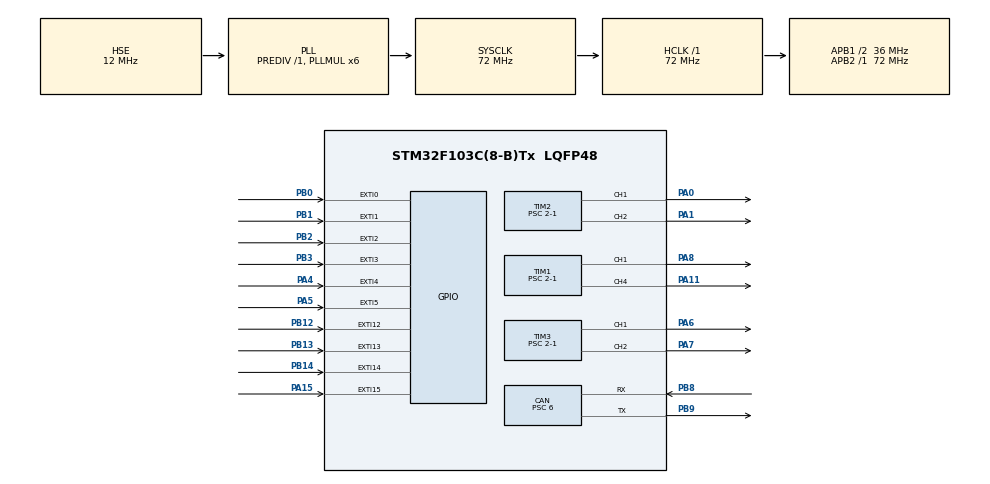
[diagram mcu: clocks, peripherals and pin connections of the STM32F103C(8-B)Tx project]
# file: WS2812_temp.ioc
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CAN.BS1=CAN_BS1_3TQ
CAN.BS2=CAN_BS2_2TQ
CAN.CalculateBaudRate=999999
CAN.CalculateTimeBit=1000
CAN.CalculateTimeQuantum=166.66666666666669
CAN.Prescaler=6
Dma.Request0=TIM2_CH1
Dma.Request1=TIM2_CH2/CH4
Dma.Request2=TIM1_CH1
Dma.Request3=TIM1_CH4/TRIG/COM
Dma.Request4=TIM3_CH1/TRIG
Dma.Request5=TIM3_CH4/UP
Dma.TIM1_CH1.2.Direction=DMA_MEMORY_TO_PERIPH
Dma.TIM1_CH1.2.Instance=DMA1_Channel2
Dma.TIM1_CH1.2.MemDataAlignment=DMA_MDATAALIGN_HALFWORD
Dma.TIM1_CH1.2.MemInc=DMA_MINC_ENABLE
Dma.TIM1_CH1.2.Mode=DMA_NORMAL
Dma.TIM1_CH1.2.PeriphDataAlignment=DMA_PDATAALIGN_HALFWORD
Dma.TIM1_CH1.2.PeriphInc=DMA_PINC_DISABLE
Dma.TIM1_CH1.2.Priority=DMA_PRIORITY_VERY_HIGH
Dma.TIM1_CH4/TRIG/COM.3.Direction=DMA_MEMORY_TO_PERIPH
Dma.TIM1_CH4/TRIG/COM.3.Instance=DMA1_Channel4
Dma.TIM1_CH4/TRIG/COM.3.MemDataAlignment=DMA_MDATAALIGN_HALFWORD
Dma.TIM1_CH4/TRIG/COM.3.MemInc=DMA_MINC_ENABLE
Dma.TIM1_CH4/TRIG/COM.3.Mode=DMA_NORMAL
Dma.TIM1_CH4/TRIG/COM.3.PeriphDataAlignment=DMA_PDATAALIGN_HALFWORD
Dma.TIM1_CH4/TRIG/COM.3.PeriphInc=DMA_PINC_DISABLE
Dma.TIM1_CH4/TRIG/COM.3.Priority=DMA_PRIORITY_VERY_HIGH
Dma.TIM2_CH1.0.Direction=DMA_MEMORY_TO_PERIPH
Dma.TIM2_CH1.0.Instance=DMA1_Channel5
Dma.TIM2_CH1.0.MemDataAlignment=DMA_MDATAALIGN_HALFWORD
Dma.TIM2_CH1.0.MemInc=DMA_MINC_ENABLE
Dma.TIM2_CH1.0.Mode=DMA_NORMAL
Dma.TIM2_CH1.0.PeriphDataAlignment=DMA_PDATAALIGN_HALFWORD
Dma.TIM2_CH1.0.PeriphInc=DMA_PINC_DISABLE
Dma.TIM2_CH1.0.Priority=DMA_PRIORITY_VERY_HIGH
Dma.TIM2_CH2/CH4.1.Direction=DMA_MEMORY_TO_PERIPH
Dma.TIM2_CH2/CH4.1.Instance=DMA1_Channel7
Dma.TIM2_CH2/CH4.1.MemDataAlignment=DMA_MDATAALIGN_HALFWORD
Dma.TIM2_CH2/CH4.1.MemInc=DMA_MINC_ENABLE
Dma.TIM2_CH2/CH4.1.Mode=DMA_NORMAL
Dma.TIM2_CH2/CH4.1.PeriphDataAlignment=DMA_PDATAALIGN_HALFWORD
Dma.TIM2_CH2/CH4.1.PeriphInc=DMA_PINC_DISABLE
Dma.TIM2_CH2/CH4.1.Priority=DMA_PRIORITY_VERY_HIGH
Dma.TIM3_CH1/TRIG.4.Direction=DMA_MEMORY_TO_PERIPH
Dma.TIM3_CH1/TRIG.4.Instance=DMA1_Channel6
Dma.TIM3_CH1/TRIG.4.MemDataAlignment=DMA_MDATAALIGN_HALFWORD
Dma.TIM3_CH1/TRIG.4.MemInc=DMA_MINC_ENABLE
Dma.TIM3_CH1/TRIG.4.Mode=DMA_NORMAL
Dma.TIM3_CH1/TRIG.4.PeriphDataAlignment=DMA_PDATAALIGN_HALFWORD
Dma.TIM3_CH1/TRIG.4.PeriphInc=DMA_PINC_DISABLE
Dma.TIM3_CH1/TRIG.4.Priority=DMA_PRIORITY_VERY_HIGH
Dma.TIM3_CH4/UP.5.Direction=DMA_MEMORY_TO_PERIPH
Dma.TIM3_CH4/UP.5.Instance=DMA1_Channel3
Dma.TIM3_CH4/UP.5.MemDataAlignment=DMA_MDATAALIGN_HALFWORD
Dma.TIM3_CH4/UP.5.MemInc=DMA_MINC_ENABLE
Dma.TIM3_CH4/UP.5.Mode=DMA_NORMAL
Dma.TIM3_CH4/UP.5.PeriphDataAlignment=DMA_PDATAALIGN_HALFWORD
Dma.TIM3_CH4/UP.5.PeriphInc=DMA_PINC_DISABLE
Dma.TIM3_CH4/UP.5.Priority=DMA_PRIORITY_VERY_HIGH
Mcu.Family=STM32F1
Mcu.Name=STM32F103C(8-B)Tx
Mcu.Package=LQFP48
NVIC.CAN1_RX1_IRQn=true\:0\:0\:false\:false\:true\:true\:true\:true
NVIC.DMA1_Channel2_IRQn=true\:0\:0\:false\:false\:true\:false\:true\:true
NVIC.DMA1_Channel3_IRQn=true\:0\:0\:false\:false\:true\:false\:true\:true
NVIC.DMA1_Channel4_IRQn=true\:0\:0\:false\:false\:true\:false\:true\:true
NVIC.DMA1_Channel5_IRQn=true\:0\:0\:false\:false\:true\:false\:true\:true
NVIC.DMA1_Channel6_IRQn=true\:0\:0\:false\:false\:true\:false\:true\:true
NVIC.DMA1_Channel7_IRQn=true\:0\:0\:false\:false\:true\:false\:true\:true
NVIC.EXTI0_IRQn=true\:0\:0\:false\:false\:true\:true\:true\:true
NVIC.EXTI15_10_IRQn=true\:0\:0\:false\:false\:true\:true\:true\:true
NVIC.EXTI1_IRQn=true\:0\:0\:false\:false\:true\:true\:true\:true
NVIC.EXTI2_IRQn=true\:0\:0\:false\:false\:true\:true\:true\:true
NVIC.EXTI3_IRQn=true\:0\:0\:false\:false\:true\:true\:true\:true
NVIC.EXTI4_IRQn=true\:0\:0\:false\:false\:true\:true\:true\:true
NVIC.EXTI9_5_IRQn=true\:0\:0\:false\:false\:true\:true\:true\:true
NVIC.PriorityGroup=NVIC_PRIORITYGROUP_4
PA0-WKUP.Signal=S_TIM2_CH1_ETR
PA1.Signal=S_TIM2_CH2
PA11.Signal=S_TIM1_CH4
PA13.Mode=Serial_Wire
PA13.Signal=SYS_JTMS-SWDIO
PA14.Mode=Serial_Wire
PA14.Signal=SYS_JTCK-SWCLK
PA15.GPIO_ModeDefaultEXTI=GPIO_MODE_IT_FALLING
PA15.GPIO_PuPd=GPIO_PULLUP
PA15.Signal=GPXTI15
PA4.GPIO_ModeDefaultEXTI=GPIO_MODE_IT_FALLING
PA4.GPIO_PuPd=GPIO_PULLUP
PA4.Signal=GPXTI4
PA5.GPIO_ModeDefaultEXTI=GPIO_MODE_IT_FALLING
PA5.GPIO_PuPd=GPIO_PULLUP
PA5.Signal=GPXTI5
PA6.Signal=S_TIM3_CH1
PA7.Signal=S_TIM3_CH2
PA8.Signal=S_TIM1_CH1
PB0.GPIO_ModeDefaultEXTI=GPIO_MODE_IT_FALLING
PB0.GPIO_PuPd=GPIO_PULLUP
PB0.Signal=GPXTI0
PB1.GPIO_ModeDefaultEXTI=GPIO_MODE_IT_FALLING
PB1.GPIO_PuPd=GPIO_PULLUP
PB1.Signal=GPXTI1
PB12.GPIO_ModeDefaultEXTI=GPIO_MODE_IT_FALLING
PB12.GPIO_PuPd=GPIO_PULLUP
PB12.Signal=GPXTI12
PB13.GPIO_ModeDefaultEXTI=GPIO_MODE_IT_FALLING
PB13.GPIO_PuPd=GPIO_PULLUP
PB13.Signal=GPXTI13
PB14.GPIO_ModeDefaultEXTI=GPIO_MODE_IT_FALLING
PB14.GPIO_PuPd=GPIO_PULLUP
PB14.Signal=GPXTI14
PB2.GPIO_ModeDefaultEXTI=GPIO_MODE_IT_FALLING
PB2.GPIO_PuPd=GPIO_PULLUP
PB2.Signal=GPXTI2
PB3.GPIO_ModeDefaultEXTI=GPIO_MODE_IT_FALLING
PB3.GPIO_PuPd=GPIO_PULLUP
PB3.Signal=GPXTI3
PB8.Mode=CAN_Activate
PB8.Signal=CAN_RX
PB9.Mode=CAN_Activate
PB9.Signal=CAN_TX
PD0-OSC_IN.Mode=HSE-External-Oscillator
PD0-OSC_IN.Signal=RCC_OSC_IN
PD1-OSC_OUT.Mode=HSE-External-Oscillator
PD1-OSC_OUT.Signal=RCC_OSC_OUT
ProjectManager.HeapSize=0x200
ProjectManager.StackSize=0x400
ProjectManager.TargetToolchain=CMake
RCC.AHBFreq_Value=72000000
RCC.APB1CLKDivider=RCC_HCLK_DIV2
RCC.APB1Freq_Value=36000000
RCC.APB1TimFreq_Value=72000000
RCC.APB2Freq_Value=72000000
RCC.APB2TimFreq_Value=72000000
RCC.HCLKFreq_Value=72000000
RCC.HSE_VALUE=12000000
RCC.PLLMUL=RCC_PLL_MUL6
RCC.PLLSourceVirtual=RCC_PLLSOURCE_HSE
RCC.SYSCLKFreq_VALUE=72000000
RCC.SYSCLKSource=RCC_SYSCLKSOURCE_PLLCLK
RCC.USBFreq_Value=72000000
SH.S_TIM1_CH1.0=TIM1_CH1,PWM Generation1 CH1
SH.S_TIM1_CH4.0=TIM1_CH4,PWM Generation4 CH4
SH.S_TIM2_CH1_ETR.0=TIM2_CH1,PWM Generation1 CH1
SH.S_TIM2_CH2.0=TIM2_CH2,PWM Generation2 CH2
SH.S_TIM3_CH1.0=TIM3_CH1,PWM Generation1 CH1
SH.S_TIM3_CH2.0=TIM3_CH2,PWM Generation2 CH2
TIM1.Channel-PWM\ Generation1\ CH1=TIM_CHANNEL_1
TIM1.Channel-PWM\ Generation4\ CH4=TIM_CHANNEL_4
TIM1.Period=45-1
TIM1.Prescaler=2-1
TIM2.Channel-PWM\ Generation1\ CH1=TIM_CHANNEL_1
TIM2.Channel-PWM\ Generation2\ CH2=TIM_CHANNEL_2
TIM2.Period=45-1
TIM2.Prescaler=2-1
TIM3.Channel-PWM\ Generation1\ CH1=TIM_CHANNEL_1
TIM3.Channel-PWM\ Generation2\ CH2=TIM_CHANNEL_2
TIM3.Period=45-1
TIM3.Prescaler=2-1
board=custom

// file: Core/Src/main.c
/* USER CODE BEGIN Header */
/**
  ******************************************************************************
  * @file           : main.c
  * @brief          : Main program body
  ******************************************************************************
  * @attention
  *
  * Copyright (c) 2024 STMicroelectronics.
  * All rights reserved.
  *
  * This software is licensed under terms that can be found in the LICENSE file
  * in the root directory of this software component.
  * If no LICENSE file comes with this software, it is provided AS-IS.
  *
  ******************************************************************************.
  */
/* USER CODE END Header */
#include "main.h"
#include "can.h"
#include "dma.h"
#include "tim.h"
#include "gpio.h"

/* USER CODE BEGIN Includes */
#include "WS2812.h"
#include "can_portocal_second.hpp"
#include "Flag_State.h"
#include "bsp_can.hpp"
#include "bsp.hpp"
#include <stdbool.h>
/* USER CODE END Includes */

/* USER CODE BEGIN PTD */
#define WS1 33
#define WS0 12
#define BOARD_NUMBER 1
#define SWITCH_PIN_0 GPIO_PIN_0
#define SWITCH_PIN_1 GPIO_PIN_1
#define SWITCH_PIN_2 GPIO_PIN_2
#define SWITCH_PIN_3 GPIO_PIN_3
#define SWITCH_PIN_4 GPIO_PIN_4
#define SWITCH_PIN_5 GPIO_PIN_5
#define SWITCH_PIN_12 GPIO_PIN_12
#define SWITCH_PIN_13 GPIO_PIN_13
#define SWITCH_PIN_14 GPIO_PIN_14
#define SWITCH_PIN_15 GPIO_PIN_15
/* USER CODE END PTD */

/* USER CODE BEGIN PD */
int record=0;
int used_time=0;
char one_ring=1;
char two_ring=1;
char three_ring=1;
char four_ring=1;
char five_ring=1;
char six_ring=1;
char seven_ring=1;
char eight_ring=1;
char nine_ring=1;
char ten_ring=1;
Board_info_t Board_info[5];
Board_Order_info_t Board_Order_info[5];
Big_Fu_info_t Big_Fu_info[5];
uint8_t can_rx_Data[8]={0};
uint8_t can_Dafu_data[8]={0};
static int useTime=0;
int hasExecuted=0;
typedef enum {
    STABLE_HIGH,
    JITTER_HIGH,
    STABLE_LOW,
    JITTER_LOW
} Switch_State;
Switch_State current_state_pin_0 = STABLE_HIGH;
Switch_State current_state_pin_1 = STABLE_HIGH;
Switch_State current_state_pin_2 = STABLE_HIGH;
Switch_State current_state_pin_3 = STABLE_HIGH;
Switch_State current_state_pin_4 = STABLE_HIGH;
Switch_State current_state_pin_5 = STABLE_HIGH;
Switch_State current_state_pin_12 = STABLE_HIGH;
Switch_State current_state_pin_13 = STABLE_HIGH;
Switch_State current_state_pin_14 = STABLE_HIGH;
Switch_State current_state_pin_15 = STABLE_HIGH;
/* USER CODE END PD */

void SystemClock_Config(void);
/* USER CODE BEGIN PFP */
void HAL_GPIO_EXTI_Callback(uint16_t GPIO_Pin)
{
    bool current_switch_level;
    switch (GPIO_Pin) {
    case SWITCH_PIN_0:
        current_switch_level = HAL_GPIO_ReadPin(GPIOB, SWITCH_PIN_0);
        switch (current_state_pin_0) {
        case STABLE_HIGH:
            if (!current_switch_level) {
                current_state_pin_0 = JITTER_LOW;
            }
            break;
        case JITTER_HIGH:
            if (!current_switch_level) {
                current_state_pin_0 = JITTER_LOW;
            } else {
                current_state_pin_0 = STABLE_HIGH;
            }
            break;
        case STABLE_LOW:
            if (current_switch_level) {
                current_state_pin_0 = JITTER_HIGH;
            }
            break;
        case JITTER_LOW:
            if (current_switch_level) {
                current_state_pin_0 = JITTER_HIGH;
            } else {
                current_state_pin_0 = STABLE_LOW;
                // ??????????????,?????????
                record = 1;
                Big_Fu_info[BOARD_NUMBER].hit_time += 1;
                Big_Fu_info[BOARD_NUMBER].Single_Hit_State = 1;
                eight_ring = 0;
							Board_Info_Tx(can_Dafu_data,Big_Fu_info);
                __HAL_GPIO_EXTI_CLEAR_IT(SWITCH_PIN_0);
            }
            break;
        }
        break;
    case SWITCH_PIN_1:
        current_switch_level = HAL_GPIO_ReadPin(GPIOB, SWITCH_PIN_1);
        switch (current_state_pin_1) {
        case STABLE_HIGH:
            if (!current_switch_level) {
                current_state_pin_1 = JITTER_LOW;
            }
            break;
        case JITTER_HIGH:
            if (!current_switch_level) {
                current_state_pin_1 = JITTER_LOW;
            } else {
                current_state_pin_1 = STABLE_HIGH;
            }
            break;
        case STABLE_LOW:
            if (current_switch_level) {
                current_state_pin_1 = JITTER_HIGH;
            }

            break;
        case JITTER_LOW:
            if (current_switch_level) {
                current_state_pin_1 = JITTER_HIGH;
            } else {
                current_state_pin_1 = STABLE_LOW;
                // ?????????
                seven_ring = 0;
                record = 1;
                Big_Fu_info[BOARD_NUMBER].hit_time += 1;
                Big_Fu_info[BOARD_NUMBER].Single_Hit_State = 1;
							Board_Info_Tx(can_Dafu_data,Big_Fu_info);
                __HAL_GPIO_EXTI_CLEAR_IT(SWITCH_PIN_1);
            }
            break;
        }
        break;
    case SWITCH_PIN_2:
        current_switch_level = HAL_GPIO_ReadPin(GPIOB, SWITCH_PIN_2);
        switch (current_state_pin_2) {
        case STABLE_HIGH:
            if (!current_switch_level) {
                current_state_pin_2 = JITTER_LOW;
            }
            break;
        case JITTER_HIGH:
            if (!current_switch_level) {
                current_state_pin_2 = JITTER_LOW;
            } else {
                current_state_pin_2 = STABLE_HIGH;
            }
            break;
        case STABLE_LOW:
            if (current_switch_level) {
                current_state_pin_2 = JITTER_HIGH;
            }
            break;
        case JITTER_LOW:
            if (current_switch_level) {
                current_state_pin_2 = JITTER_HIGH;
            } else {
                current_state_pin_2 = STABLE_LOW;
                // ?????????
                six_ring = 0;
                record = 1;
                Big_Fu_info[BOARD_NUMBER].hit_time += 1;
                Big_Fu_info[BOARD_NUMBER].Single_Hit_State = 1;
							Board_Info_Tx(can_Dafu_data,Big_Fu_info);
                __HAL_GPIO_EXTI_CLEAR_IT(SWITCH_PIN_2);
            }
            break;
        }
        break;
    case SWITCH_PIN_3:
        current_switch_level = HAL_GPIO_ReadPin(GPIOB, SWITCH_PIN_3);
        switch (current_state_pin_3) {
        case STABLE_HIGH:
            if (!current_switch_level) {
                current_state_pin_3 = JITTER_LOW;
            }
            break;
        case JITTER_HIGH:
            if (!current_switch_level) {
                current_state_pin_3 = JITTER_LOW;
            } else {
                current_state_pin_3 = STABLE_HIGH;
            }
            break;
        case STABLE_LOW:
            if (current_switch_level) {
                current_state_pin_3 = JITTER_HIGH;
            }
            break;
        case JITTER_LOW:
            if (current_switch_level) {
                current_state_pin_3 = JITTER_HIGH;
            } else {
                current_state_pin_3 = STABLE_LOW;
                // ?????????
                one_ring = 0;
                record = 1;
                Big_Fu_info[BOARD_NUMBER].hit_time += 1;
                Big_Fu_info[BOARD_NUMBER].Single_Hit_State = 1;
							Board_Info_Tx(can_Dafu_data,Big_Fu_info);
							__HAL_GPIO_EXTI_CLEAR_IT(SWITCH_PIN_3);
            }
            break;
        }
        break;
    case SWITCH_PIN_4:
        current_switch_level = HAL_GPIO_ReadPin(GPIOA, SWITCH_PIN_4);
        switch (current_state_pin_4) {
        case STABLE_HIGH:
            if (!current_switch_level) {
                current_state_pin_4 = JITTER_LOW;
            }
            break;
        case JITTER_HIGH:
            if (!current_switch_level) {
                current_state_pin_4 = JITTER_LOW;
            } else {
                current_state_pin_4 = STABLE_HIGH;
            }
            break;
        case STABLE_LOW:
            if (current_switch_level) {
                current_state_pin_4 = JITTER_HIGH;
            }
            break;
        case JITTER_LOW:
            if (current_switch_level) {
                current_state_pin_4 = JITTER_HIGH;
            } else {
                current_state_pin_4 = STABLE_LOW;
                // ?????????
                ten_ring = 0;
                record = 1;
                Big_Fu_info[BOARD_NUMBER].hit_time += 1;
                Big_Fu_info[BOARD_NUMBER].Single_Hit_State = 1;
							Board_Info_Tx(can_Dafu_data,Big_Fu_info);
                __HAL_GPIO_EXTI_CLEAR_IT(SWITCH_PIN_4);
            }
            break;
        }
        break;
    case SWITCH_PIN_5:
        current_switch_level = HAL_GPIO_ReadPin(GPIOA, SWITCH_PIN_5);
        switch (current_state_pin_5) {
        case STABLE_HIGH:
            if (!current_switch_level) {
                current_state_pin_5 = JITTER_LOW;
            }
            break;
        case JITTER_HIGH:
            if (!current_switch_level) {
                current_state_pin_5 = JITTER_LOW;
            } else {
                current_state_pin_5 = STABLE_HIGH;
            }
            break;
        case STABLE_LOW:
            if (current_switch_level) {
                current_state_pin_5 = JITTER_HIGH;
            }
            break;
        case JITTER_LOW:
            if (current_switch_level) {
                current_state_pin_5 = JITTER_HIGH;
            } else {
                current_state_pin_5 = STABLE_LOW;
                // ?????????
                nine_ring = 0;
                record = 1;
                Big_Fu_info[BOARD_NUMBER].hit_time += 1;
                Big_Fu_info[BOARD_NUMBER].Single_Hit_State = 1;
							Board_Info_Tx(can_Dafu_data,Big_Fu_info);
                __HAL_GPIO_EXTI_CLEAR_IT(SWITCH_PIN_5);
            }
            break;
        }
        break;
    case SWITCH_PIN_12:
        current_switch_level = HAL_GPIO_ReadPin(GPIOB, SWITCH_PIN_12);
        switch (current_state_pin_12) {
        case STABLE_HIGH:
            if (!current_switch_level) {
                current_state_pin_12 = JITTER_LOW;
            }
            break;
        case JITTER_HIGH:
            if (!current_switch_level) {
                current_state_pin_12 = JITTER_LOW;
            } else {
                current_state_pin_12 = STABLE_LOW;
            }
            break;
        case STABLE_LOW:
            if (current_switch_level) {
                current_state_pin_12 = JITTER_HIGH;
            }
            break;
        case JITTER_LOW:
            if (current_switch_level) {
                current_state_pin_12 = JITTER_HIGH;
            } else {
                current_state_pin_12 = STABLE_LOW;
                // ?????????
                five_ring = 0;
                record = 1;
                Big_Fu_info[BOARD_NUMBER].hit_time += 1;
                Big_Fu_info[BOARD_NUMBER].Single_Hit_State = 1;
							Board_Info_Tx(can_Dafu_data,Big_Fu_info);
                __HAL_GPIO_EXTI_CLEAR_IT(SWITCH_PIN_12);
            }
            break;
        }
        break;
    case SWITCH_PIN_13:
        current_switch_level = HAL_GPIO_ReadPin(GPIOB, SWITCH_PIN_13);
        switch (current_state_pin_13) {
        case STABLE_HIGH:
            if (!current_switch_level) {
                current_state_pin_13 = JITTER_LOW;
            }
            break;
        case JITTER_HIGH:
            if (!current_switch_level) {
                current_state_pin_13 = JITTER_LOW;
            } else {
                current_state_pin_13 = STABLE_HIGH;
            }
            break;
        case STABLE_LOW:
            if (current_switch_level) {
                current_state_pin_13 = JITTER_HIGH;
            }
            break;
        case JITTER_LOW:
            if (current_switch_level) {
                current_state_pin_13 = JITTER_HIGH;
            } else {
                current_state_pin_13 = STABLE_LOW;
                four_ring = 0;
                record = 1;
                Big_Fu_info[BOARD_NUMBER].hit_time += 1;
                Big_Fu_info[BOARD_NUMBER].Single_Hit_State = 1;
							Board_Info_Tx(can_Dafu_data,Big_Fu_info);
                __HAL_GPIO_EXTI_CLEAR_IT(SWITCH_PIN_13);
            }
            break;
        }
        break;
    case SWITCH_PIN_14:
        current_switch_level = HAL_GPIO_ReadPin(GPIOB, SWITCH_PIN_14);
        switch (current_state_pin_14) {
        case STABLE_HIGH:
            if (!current_switch_level) {
                current_state_pin_14 = JITTER_LOW;
            }
            break;
        case JITTER_HIGH:
            if (!current_switch_level) {
                current_state_pin_14 = JITTER_LOW;
            } else {
                current_state_pin_14 = STABLE_HIGH;
            }
            break;
        case STABLE_LOW:
            if (current_switch_level) {
                current_state_pin_14 = JITTER_HIGH;
            }
            break;
        case JITTER_LOW:
            if (current_switch_level) {
                current_state_pin_14 = JITTER_HIGH;
            } else {
                current_state_pin_14 = STABLE_LOW;
                // ?????????
                three_ring = 0;
                record = 1;
                Big_Fu_info[BOARD_NUMBER].hit_time += 1;
                Big_Fu_info[BOARD_NUMBER].Single_Hit_State = 1;
							Board_Info_Tx(can_Dafu_data,Big_Fu_info);
                __HAL_GPIO_EXTI_CLEAR_IT(SWITCH_PIN_14);
            }
            break;
        }
        break;
    case SWITCH_PIN_15:
        current_switch_level = HAL_GPIO_ReadPin(GPIOA, SWITCH_PIN_15);
        switch (current_state_pin_15) {
        case STABLE_HIGH:
            if (!current_switch_level) {
                current_state_pin_15 = JITTER_LOW;
            }
            break;
        case JITTER_HIGH:
            if (!current_switch_level) {
                current_state_pin_15 = JITTER_LOW;
            } else {
                current_state_pin_15 = STABLE_HIGH;
            }
            break;
        case STABLE_LOW:
            if (current_switch_level) {
                current_state_pin_15 = JITTER_HIGH;
            }
            break;
        case JITTER_LOW:
            if (current_switch_level) {
                current_state_pin_15 = JITTER_HIGH;
            } else {
                current_state_pin_15 = STABLE_LOW;
                // ?????????
                two_ring = 0;
                record = 1;
                Big_Fu_info[BOARD_NUMBER].hit_time += 1;
                Big_Fu_info[BOARD_NUMBER].Single_Hit_State = 1;
							Board_Info_Tx(can_Dafu_data,Big_Fu_info);
                __HAL_GPIO_EXTI_CLEAR_IT(SWITCH_PIN_15);
            }
            break;
        }
        break;
    }
}

/* USER CODE END PFP */

int main(void)
{

  /* MCU Configuration--------------------------------------------------------*/

  /* Reset of all peripherals, Initializes the Flash interface and the Systick. */
  HAL_Init();

  /* Configure the system clock */
  SystemClock_Config();

  /* Initialize all configured peripherals */
  MX_GPIO_Init();
  MX_DMA_Init();
  MX_TIM2_Init();
  MX_TIM1_Init();
  MX_TIM3_Init();
  MX_CAN_Init();
  /* USER CODE BEGIN 2 */
	CAN_Init();
	Big_Fu_info_Init(Big_Fu_info);
	Board_Order_info_Init(Board_Order_info);
	WS2812_close_all();
	HAL_Delay(10);
  /* USER CODE END 2 */

  /* Infinite loop */
  /* USER CODE BEGIN WHILE */
  while (1)
  {

//    Board_RX(CAN_BOARD_ID_1_F,Board_Order_info,can_rx_Data,Board_info[BOARD_NUMBER]);
	  Board_RX(CAN_BOARD_ID_2_F,Board_Order_info,can_rx_Data,Board_info[BOARD_NUMBER]);
//		Board_RX(CAN_BOARD_ID_3_F,Board_Order_info,can_rx_Data,Board_info[BOARD_NUMBER]);
//		Board_RX(CAN_BOARD_ID_4_F,Board_Order_info,can_rx_Data,Board_info[BOARD_NUMBER]);
//		Board_RX(CAN_BOARD_ID_5_F,Board_Order_info,can_rx_Data,Board_info[BOARD_NUMBER]);
		// Board_Order_info[BOARD_NUMBER].Board_Work=1;
		// Board_Order_info[BOARD_NUMBER].Energy_machine_state=1;//测试代码
		if(Board_Order_info[BOARD_NUMBER].Board_Work==0)
		{
			used_time=0;
			record=0;
			Big_Fu_info_Init(Big_Fu_info);
			WS2812_close_all();
			HAL_Delay(10);
			WS_Write_RGB_Frame_up(0,0,0);
			HAL_Delay(10);
			WS_Write_RGB_Frame_down(0,0,0);
      HAL_Delay(10);
			WS2812_close_Rectangle();
			HAL_Delay(10);
			one_ring=1;
			two_ring=1;
			three_ring=1;
			four_ring=1;
			five_ring=1;
			six_ring=1;
			seven_ring=1;
			eight_ring=1;
			nine_ring=1;
			ten_ring=1;
			hasExecuted=0;
			useTime=0;
			current_state_pin_0 = STABLE_HIGH;
      current_state_pin_1 = STABLE_HIGH;
      current_state_pin_2 = STABLE_HIGH;
      current_state_pin_3 = STABLE_HIGH;
      current_state_pin_4 = STABLE_HIGH;
      current_state_pin_5 = STABLE_HIGH;
      current_state_pin_12 = STABLE_HIGH;
      current_state_pin_13 = STABLE_HIGH;
      current_state_pin_14 = STABLE_HIGH;
      current_state_pin_15 = STABLE_HIGH;
		}
		if(Board_Order_info[BOARD_NUMBER].Board_Work==1&&record==0)
		{
			if(used_time==0){
			used_time=1;
			WS_Write_Cross(100,0,0);
			HAL_Delay(10);
			}
			WS_Write_arrow_flow_LED(100,0,0);
		}
		if(Board_Order_info[BOARD_NUMBER].Board_Work==1&&record==1)
		{
			if(hasExecuted==0){
			hasExecuted=1;
			WS_Write_RGB_Frame_up(50,0,0);
			HAL_Delay(10);
			WS_Write_RGB_Frame_down(50,0,0);
			HAL_Delay(10);

			}
		}
    if(one_ring==0)
		{
			if(Big_Fu_info[BOARD_NUMBER].hit_time<=1)
			{
			if(Board_Order_info[BOARD_NUMBER].Energy_machine_state==0)
			{
				 useTime=0;
				   record=0;
					 Big_Fu_info_Init(Big_Fu_info);
					 WS2812_close_all();
			 }
			 if(Board_Order_info[BOARD_NUMBER].Energy_machine_state==1)
			 {
				 if(Board_Order_info[BOARD_NUMBER].Board_Work==0)
				 {
					 useTime=0;
					 record=0;
					 Big_Fu_info_Init(Big_Fu_info);
					 WS2812_close_all();
				 }
			if(Big_Fu_info[BOARD_NUMBER].Hit_LED_state==0&&Big_Fu_info[BOARD_NUMBER].Single_Hit_State==1&&Board_Order_info[BOARD_NUMBER].Board_Work==1)
			{
				useTime++;
				if(useTime==1)
				{
				WS_Write_RGB_ONE_RINGS(100,0,0);
				HAL_Delay(10);
				}
			}
			 }
			 if(Board_Order_info[BOARD_NUMBER].Energy_machine_state==2)
			 {
				 if(Board_Order_info[BOARD_NUMBER].Board_Work==0)
				 {
					 useTime=0;
					 record=0;
					 Big_Fu_info_Init(Big_Fu_info);
				 WS2812_close_all();}
				 if(Board_Order_info[BOARD_NUMBER].Board_Work==1)
				 {
					 useTime++;
					 if(useTime==1)
					 {
					 WS_Write_RGB_ONE_RINGS(100,0,0);
					 HAL_Delay(10);
						 Board_Info_Tx(can_Dafu_data,Big_Fu_info);
					 }
				 }
			 }
		 }
		}
    if(two_ring==0)
		{
			if(Big_Fu_info[BOARD_NUMBER].hit_time<=1)
			{
			if(Board_Order_info[BOARD_NUMBER].Energy_machine_state==0)
			 {
				   useTime=0;
				   record=0;
					 Big_Fu_info_Init(Big_Fu_info);
					 WS2812_close_all();
			 }
			 if(Board_Order_info[BOARD_NUMBER].Energy_machine_state==1)
			 {
				 if(Board_Order_info[BOARD_NUMBER].Board_Work==0)
				 {
					 useTime=0;
					 record=0;
					 Big_Fu_info_Init(Big_Fu_info);
					 WS2812_close_all();
				 }
			if(Big_Fu_info[BOARD_NUMBER].Hit_LED_state==0&&Big_Fu_info[BOARD_NUMBER].Single_Hit_State==1&&Board_Order_info[BOARD_NUMBER].Board_Work==1)
			{
				useTime++;
				if(useTime==1)
				{
				WS_Write_RGB_ONE_RINGS(100,0,0);
				HAL_Delay(10);
				}
			}
			 }
			 if(Board_Order_info[BOARD_NUMBER].Energy_machine_state==2)
			 {
				 if(Board_Order_info[BOARD_NUMBER].Board_Work==0)
				 {
					 useTime=0;
					 record=0;
					 Big_Fu_info_Init(Big_Fu_info);
				 WS2812_close_all();}
				 if(Board_Order_info[BOARD_NUMBER].Board_Work==1)
				 {
					 useTime++;
					 if(useTime==1)
					 {
					 WS_Write_RGB_TWO_RINGS(100,0,0);
					 HAL_Delay(10);
//			     WS_Write_Rectangle_down(50,0,0);
//			     HAL_Delay(10);
//			     WS_Write_Rectangle_mid(50,0,0);
//			     HAL_Delay(10);
//			     WS_Write_Rectangle_up(50,0,0);
//			     HAL_Delay(10);
					 }
				 }
			 }
		 }
		}
    if(three_ring==0)
		{
			if(Big_Fu_info[BOARD_NUMBER].hit_time<=1)
			{
			if(Board_Order_info[BOARD_NUMBER].Energy_machine_state==0)
			 {
				 useTime=0;
				   record=0;
					 Big_Fu_info_Init(Big_Fu_info);
					 WS2812_close_all();
			 }
			 if(Board_Order_info[BOARD_NUMBER].Energy_machine_state==1)
			 {
				 if(Board_Order_info[BOARD_NUMBER].Board_Work==0)
				 {
					 useTime=0;
					 record=0;
					 Big_Fu_info_Init(Big_Fu_info);
					 WS2812_close_all();
				 }
			if(Big_Fu_info[BOARD_NUMBER].Hit_LED_state==0&&Big_Fu_info[BOARD_NUMBER].Single_Hit_State==1&&Board_Order_info[BOARD_NUMBER].Board_Work==1)
			{
				useTime++;
				if(useTime==1)
				{
				WS_Write_RGB_ONE_RINGS(100,0,0);
				HAL_Delay(10);
				}
			}
			 }
			 if(Board_Order_info[BOARD_NUMBER].Energy_machine_state==2)
			 {
				 if(Board_Order_info[BOARD_NUMBER].Board_Work==0)
				 {
					 useTime=0;
					 record=0;
					 Big_Fu_info_Init(Big_Fu_info);
				 WS2812_close_all();}
				 if(Board_Order_info[BOARD_NUMBER].Board_Work==1)
				 {
					 useTime++;
					 if(useTime==1){
					 WS_Write_RGB_THREE_RINGS(100,0,0);
					 HAL_Delay(10);
//			     WS_Write_Rectangle_down(50,0,0);
//			     HAL_Delay(10);
//			     WS_Write_Rectangle_mid(50,0,0);
//			     HAL_Delay(10);
//			     WS_Write_Rectangle_up(50,0,0);
//			     HAL_Delay(10);
					 }
				 }
			 }
		 }
		}
    if(four_ring==0)
		{
			if(Big_Fu_info[BOARD_NUMBER].hit_time<=1)
			{
			if(Board_Order_info[BOARD_NUMBER].Energy_machine_state==0)
			 {
				 useTime=0;
				   record=0;
					 Big_Fu_info_Init(Big_Fu_info);
					 WS2812_close_all();
			 }
			 if(Board_Order_info[BOARD_NUMBER].Energy_machine_state==1)
			 {
				 if(Board_Order_info[BOARD_NUMBER].Board_Work==0)
				 {
					 useTime=0;
					 record=0;
					 Big_Fu_info_Init(Big_Fu_info);
					 WS2812_close_all();
				 }
			if(Big_Fu_info[BOARD_NUMBER].Hit_LED_state==0&&Big_Fu_info[BOARD_NUMBER].Single_Hit_State==1&&Board_Order_info[BOARD_NUMBER].Board_Work==1)
			{
				useTime++;
				if(useTime==1)
				{
				WS_Write_RGB_ONE_RINGS(100,0,0);
				HAL_Delay(10);
				}
			}
			 }
			 if(Board_Order_info[BOARD_NUMBER].Energy_machine_state==2)
			 {
				 if(Board_Order_info[BOARD_NUMBER].Board_Work==0)
				 {
					 useTime=0;
					 record=0;
					 Big_Fu_info_Init(Big_Fu_info);
				 WS2812_close_all();}
				 if(Board_Order_info[BOARD_NUMBER].Board_Work==1)
				 {
					 useTime++;
					 if(useTime==1){
					 WS_Write_RGB_FOUR_RINGS(100,0,0);
					 HAL_Delay(10);
//			     WS_Write_Rectangle_down(50,0,0);
//			     HAL_Delay(10);
//			     WS_Write_Rectangle_mid(50,0,0);
//			     HAL_Delay(10);
//			     WS_Write_Rectangle_up(50,0,0);
//			     HAL_Delay(10);
					 }
				 }
			 }
		 }
		}
    if(five_ring==0)
		{
			if(Big_Fu_info[BOARD_NUMBER].hit_time<=1)
			{
			if(Board_Order_info[BOARD_NUMBER].Energy_machine_state==0)
			 {
				 useTime=0;
				   record=0;
					 Big_Fu_info_Init(Big_Fu_info);
					 WS2812_close_all();
			 }
			 if(Board_Order_info[BOARD_NUMBER].Energy_machine_state==1)
			 {
				 if(Board_Order_info[BOARD_NUMBER].Board_Work==0)
				 {
					 useTime=0;
					 record=0;
					 Big_Fu_info_Init(Big_Fu_info);
					 WS2812_close_all();
				 }
			if(Big_Fu_info[BOARD_NUMBER].Hit_LED_state==0&&Big_Fu_info[BOARD_NUMBER].Single_Hit_State==1&&Board_Order_info[BOARD_NUMBER].Board_Work==1)
			{
				useTime++;
				if(useTime==1)
				{
				WS_Write_RGB_ONE_RINGS(100,0,0);
				HAL_Delay(10);
				}
			}
			 }
			 if(Board_Order_info[BOARD_NUMBER].Energy_machine_state==2)
			 {
				 if(Board_Order_info[BOARD_NUMBER].Board_Work==0)
				 {
					 useTime=0;
					 record=0;
					 Big_Fu_info_Init(Big_Fu_info);
				 WS2812_close_all();}
				 if(Board_Order_info[BOARD_NUMBER].Board_Work==1)
				 {
					 useTime++;
					 if(useTime==1){
					 WS_Write_RGB_FIVE_RINGS(100,0,0);
					 HAL_Delay(10);
//			     WS_Write_Rectangle_down(50,0,0);
//			     HAL_Delay(10);
//			     WS_Write_Rectangle_mid(50,0,0);
//			     HAL_Delay(10);
//			     WS_Write_Rectangle_up(50,0,0);
//			     HAL_Delay(10);
					 }
				 }
			 }
		 }
		}
    if(six_ring==0)
		{
			if(Big_Fu_info[BOARD_NUMBER].hit_time<=1)
			{
			if(Board_Order_info[BOARD_NUMBER].Energy_machine_state==0)
			 {
				 useTime=0;
				   record=0;
					 Big_Fu_info_Init(Big_Fu_info);
					 WS2812_close_all();
			 }
			 if(Board_Order_info[BOARD_NUMBER].Energy_machine_state==1)
			 {
				 if(Board_Order_info[BOARD_NUMBER].Board_Work==0)
				 {
					 useTime=0;
					 record=0;
					 Big_Fu_info_Init(Big_Fu_info);
					 WS2812_close_all();
				 }
			if(Big_Fu_info[BOARD_NUMBER].Hit_LED_state==0&&Big_Fu_info[BOARD_NUMBER].Single_Hit_State==1&&Board_Order_info[BOARD_NUMBER].Board_Work==1)
			{
				useTime++;
				if(useTime==1)
				{
				WS_Write_RGB_ONE_RINGS(100,0,0);
				HAL_Delay(10);
				}
			}
			 }
			 if(Board_Order_info[BOARD_NUMBER].Energy_machine_state==2)
			 {
				 if(Board_Order_info[BOARD_NUMBER].Board_Work==0)
				 {
					 useTime=0;
					 record=0;
					 Big_Fu_info_Init(Big_Fu_info);
				 WS2812_close_all();}
				 if(Board_Order_info[BOARD_NUMBER].Board_Work==1)
				 {
					 useTime++;
					 if(useTime==1){
					 WS_Write_RGB_SIX_RINGS(100,0,0);
					 HAL_Delay(10);
//			     WS_Write_Rectangle_down(50,0,0);
//			     HAL_Delay(10);
//			     WS_Write_Rectangle_mid(50,0,0);
//			     HAL_Delay(10);
//			     WS_Write_Rectangle_up(50,0,0);
//			     HAL_Delay(10);
					 }
				 }
			 }
		 }
		}
    if(seven_ring==0)
		{
			if(Big_Fu_info[BOARD_NUMBER].hit_time<=1)
			{
			if(Board_Order_info[BOARD_NUMBER].Energy_machine_state==0)
			 {
				 useTime=0;
				   record=0;
					 Big_Fu_info_Init(Big_Fu_info);
					 WS2812_close_all();
			 }
			 if(Board_Order_info[BOARD_NUMBER].Energy_machine_state==1)
			 {
				 if(Board_Order_info[BOARD_NUMBER].Board_Work==0)
				 {
					 useTime=0;
					 record=0;
					 Big_Fu_info_Init(Big_Fu_info);
					 WS2812_close_all();
				 }
			if(Big_Fu_info[BOARD_NUMBER].Hit_LED_state==0&&Big_Fu_info[BOARD_NUMBER].Single_Hit_State==1&&Board_Order_info[BOARD_NUMBER].Board_Work==1)
			{
				useTime++;
				if(useTime==1)
				{
				WS_Write_RGB_ONE_RINGS(100,0,0);
				HAL_Delay(10);
				}
			}
			 }
			 if(Board_Order_info[BOARD_NUMBER].Energy_machine_state==2)
			 {
				 if(Board_Order_info[BOARD_NUMBER].Board_Work==0)
				 {
					 useTime=0;
					 record=0;
					 Big_Fu_info_Init(Big_Fu_info);
				 WS2812_close_all();}
				 if(Board_Order_info[BOARD_NUMBER].Board_Work==1)
				 {
					 useTime++;
					 if(useTime==1){
					 WS_Write_RGB_SEVEN_RINGS(100,0,0);
					 HAL_Delay(10);
//			     WS_Write_Rectangle_down(50,0,0);
//			     HAL_Delay(10);
//			     WS_Write_Rectangle_mid(50,0,0);
//			     HAL_Delay(10);
//			     WS_Write_Rectangle_up(50,0,0);
//			     HAL_Delay(10);
					 }
				 }
			 }
		 }
		}
    if(eight_ring==0)
		{
			if(Big_Fu_info[BOARD_NUMBER].hit_time<=1)
			{
			if(Board_Order_info[BOARD_NUMBER].Energy_machine_state==0)
			 {
				 useTime=0;
				   record=0;
					 Big_Fu_info_Init(Big_Fu_info);
					 WS2812_close_all();
			 }
			 if(Board_Order_info[BOARD_NUMBER].Energy_machine_state==1)
			 {
				 if(Board_Order_info[BOARD_NUMBER].Board_Work==0)
				 {
					 useTime=0;
					 record=0;
					 Big_Fu_info_Init(Big_Fu_info);
					 WS2812_close_all();
				 }
			if(Big_Fu_info[BOARD_NUMBER].Hit_LED_state==0&&Big_Fu_info[BOARD_NUMBER].Single_Hit_State==1&&Board_Order_info[BOARD_NUMBER].Board_Work==1)
			{
				useTime++;
				if(useTime==1)
				{
				WS_Write_RGB_ONE_RINGS(100,0,0);
				HAL_Delay(10);
				}
			}
			 }
			 if(Board_Order_info[BOARD_NUMBER].Energy_machine_state==2)
			 {
				 if(Board_Order_info[BOARD_NUMBER].Board_Work==0)
				 {
					 useTime=0;
					 record=0;
					 Big_Fu_info_Init(Big_Fu_info);
				 WS2812_close_all();}
				 if(Board_Order_info[BOARD_NUMBER].Board_Work==1)
				 {
					 useTime++;
					 if(useTime==1){
					 WS_Write_RGB_EIGHT_RINGS(100,0,0);
					 HAL_Delay(10);
//			     WS_Write_Rectangle_down(50,0,0);
//			     HAL_Delay(10);
//			     WS_Write_Rectangle_mid(50,0,0);
//			     HAL_Delay(10);
//			     WS_Write_Rectangle_up(50,0,0);
//			     HAL_Delay(10);
					 }
				 }
			 }
		 }
		}
    if(nine_ring==0)
		{
			if(Big_Fu_info[BOARD_NUMBER].hit_time<=1)
			{
			if(Board_Order_info[BOARD_NUMBER].Energy_machine_state==0)
			 {
				 useTime=0;
				   record=0;
					 Big_Fu_info_Init(Big_Fu_info);
					 WS2812_close_all();
			 }
			 if(Board_Order_info[BOARD_NUMBER].Energy_machine_state==1)
			 {
				 if(Board_Order_info[BOARD_NUMBER].Board_Work==0)
				 {
					 useTime=0;
					 record=0;
					 Big_Fu_info_Init(Big_Fu_info);
					 WS2812_close_all();
				 }
			if(Big_Fu_info[BOARD_NUMBER].Hit_LED_state==0&&Big_Fu_info[BOARD_NUMBER].Single_Hit_State==1&&Board_Order_info[BOARD_NUMBER].Board_Work==1)
			{
				useTime++;
				if(useTime==1)
				{
				WS_Write_RGB_ONE_RINGS(100,0,0);
				HAL_Delay(10);
				}
			}
			 }
			 if(Board_Order_info[BOARD_NUMBER].Energy_machine_state==2)
			 {
				 if(Board_Order_info[BOARD_NUMBER].Board_Work==0)
				 {
					 useTime=0;
					 record=0;
					 Big_Fu_info_Init(Big_Fu_info);
				 WS2812_close_all();}
				 if(Board_Order_info[BOARD_NUMBER].Board_Work==1)
				 {
					 useTime++;
					 if(useTime==1){
					 WS_Write_RGB_NINE_RINGS(100,0,0);
					 HAL_Delay(10);
//			     WS_Write_Rectangle_down(50,0,0);
//			     HAL_Delay(10);
//			     WS_Write_Rectangle_mid(50,0,0);
//			     HAL_Delay(10);
//			     WS_Write_Rectangle_up(50,0,0);
//			     HAL_Delay(10);
					 }
				 }
			 }
		 }
		}
    if(ten_ring==0)
		{
			if(Big_Fu_info[BOARD_NUMBER].hit_time<=1)
			{
			if(Board_Order_info[BOARD_NUMBER].Energy_machine_state==0)
			 {
				 useTime=0;
				   record=0;
					 Big_Fu_info_Init(Big_Fu_info);
					 WS2812_close_all();
			 }
			 if(Board_Order_info[BOARD_NUMBER].Energy_machine_state==1)
			 {
				 if(Board_Order_info[BOARD_NUMBER].Board_Work==0)
				 {
					 useTime=0;
					 record=0;
					 Big_Fu_info_Init(Big_Fu_info);
					 WS2812_close_all();
				 }
			if(Big_Fu_info[BOARD_NUMBER].Hit_LED_state==0&&Big_Fu_info[BOARD_NUMBER].Single_Hit_State==1&&Board_Order_info[BOARD_NUMBER].Board_Work==1)
			{
				useTime++;
				if(useTime==1)
				{
				WS_Write_RGB_ONE_RINGS(100,0,0);
				HAL_Delay(10);
				}
			}
			 }
			 if(Board_Order_info[BOARD_NUMBER].Energy_machine_state==2)
			 {
				 if(Board_Order_info[BOARD_NUMBER].Board_Work==0)
				 {
					 useTime=0;
					 record=0;
					 Big_Fu_info_Init(Big_Fu_info);
				 WS2812_close_all();}
				 if(Board_Order_info[BOARD_NUMBER].Board_Work==1)
				 {
					 useTime++;
					 if(useTime==1){
					 WS_Write_RGB_TEN_RINGS(100,0,0);
					 HAL_Delay(10);
//			     WS_Write_Rectangle_down(50,0,0);
//			     HAL_Delay(10);
//			     WS_Write_Rectangle_mid(50,0,0);
//			     HAL_Delay(10);
//			     WS_Write_Rectangle_up(50,0,0);
//			     HAL_Delay(10);
					 }
				 }
			 }
		 }
		}
    /* USER CODE END WHILE */

  }
}

void SystemClock_Config(void)
{
  RCC_OscInitTypeDef RCC_OscInitStruct = {0};
  RCC_ClkInitTypeDef RCC_ClkInitStruct = {0};

  /** Initializes the RCC Oscillators according to the specified parameters
  * in the RCC_OscInitTypeDef structure.
  */
  RCC_OscInitStruct.OscillatorType = RCC_OSCILLATORTYPE_HSE;
  RCC_OscInitStruct.HSEState = RCC_HSE_ON;
  RCC_OscInitStruct.HSEPredivValue = RCC_HSE_PREDIV_DIV1;
  RCC_OscInitStruct.HSIState = RCC_HSI_ON;
  RCC_OscInitStruct.PLL.PLLState = RCC_PLL_ON;
  RCC_OscInitStruct.PLL.PLLSource = RCC_PLLSOURCE_HSE;
  RCC_OscInitStruct.PLL.PLLMUL = RCC_PLL_MUL6;
  if (HAL_RCC_OscConfig(&RCC_OscInitStruct) != HAL_OK)
  {
    Error_Handler();
  }

  /** Initializes the CPU, AHB and APB buses clocks
  */
  RCC_ClkInitStruct.ClockType = RCC_CLOCKTYPE_HCLK|RCC_CLOCKTYPE_SYSCLK
                              |RCC_CLOCKTYPE_PCLK1|RCC_CLOCKTYPE_PCLK2;
  RCC_ClkInitStruct.SYSCLKSource = RCC_SYSCLKSOURCE_PLLCLK;
  RCC_ClkInitStruct.AHBCLKDivider = RCC_SYSCLK_DIV1;
  RCC_ClkInitStruct.APB1CLKDivider = RCC_HCLK_DIV2;
  RCC_ClkInitStruct.APB2CLKDivider = RCC_HCLK_DIV1;

  if (HAL_RCC_ClockConfig(&RCC_ClkInitStruct, FLASH_LATENCY_2) != HAL_OK)
  {
    Error_Handler();
  }
}

void Error_Handler(void)
{
  __disable_irq();
  while (1)
  {
  }
}
